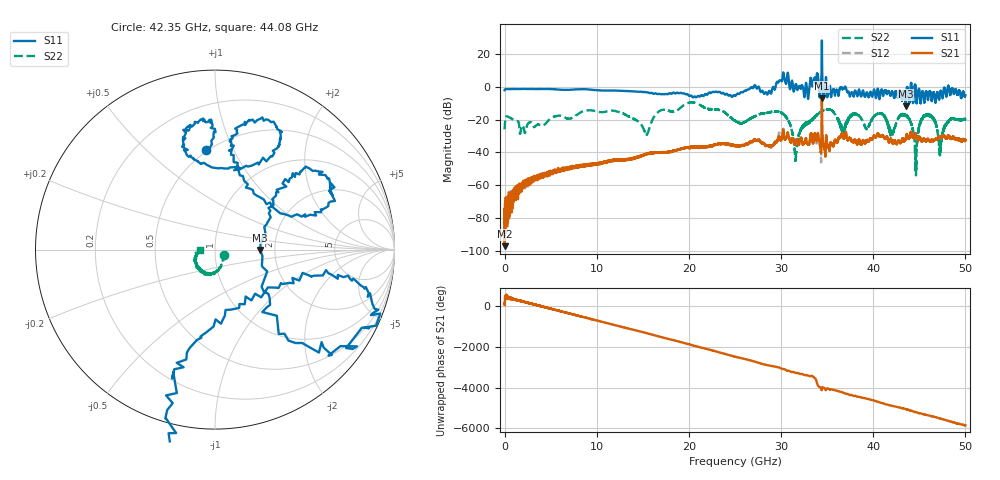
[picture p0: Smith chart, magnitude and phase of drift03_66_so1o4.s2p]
!Created with skrf (http://scikit-rf.org).
# Hz S RI R 50.0
!freq ReS11 ImS11 ReS21 ImS21 ReS12 ImS12 ReS22 ImS22
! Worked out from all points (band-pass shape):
!   10000 points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, 5.3 MHz to 50 GHz, reference 50 ohm
!   highest |S21| = -6.95 dB at 34.43 GHz (marker M1); lowest = -97.0 dB at 20.3 MHz (marker M2)
!   |S21| within 3 dB of the highest: 34.42726 GHz to 34.4349 GHz (7.64 MHz wide, 0.0222 % of centre)
!   lowest |S11| = -12.0 dB at 43.52 GHz (marker M3), VSWR 1.67, Z = 83.5 - j0.392 ohm
!   |S11| at or under -10 dB: 43.49105 GHz to 43.54564 GHz (54.59 MHz wide, 0.125 % of centre); 43.90945 GHz to 43.91065 GHz (1.193 MHz wide, 0.00272 % of centre); 44.31497 GHz to 44.31509 GHz (115.3 kHz wide, 0.00026 % of centre) (the widest 3 of 6)
!   |S22| runs from -53.9 to -9.4 dB; largest |S21 - S12| = 0.14
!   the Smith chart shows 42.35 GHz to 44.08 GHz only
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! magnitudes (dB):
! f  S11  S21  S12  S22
! 5.3 MHz  -2.1  -80.2  -81.1  -25.9
! 20.3 MHz  -1.9  -97.0  -76.6  -23.9
! 2.26 GHz  -1.3  -58.6  -58.8  -27.4
! 8.34 GHz  -1.5  -48.2  -48.0  -15.3
! 15.4 GHz  -3.4  -40.8  -40.7  -29.0
! 16.67 GHz  -4.4  -40.3  -40.0  -15.3
! 20.45 GHz  -6.5  -36.8  -37.0  -9.5
! 25.01 GHz  -5.5  -35.9  -36.0  -20.7
! 29.93 GHz  4.0  -32.5  -31.7  -15.6
! 31.59 GHz  1.4  -33.7  -33.9  -44.1
! 33.34 GHz  2.6  -30.3  -30.5  -19.9
! 34.43 GHz  28.1  -6.9  -9.0  -14.5
! 36.69 GHz  -1.3  -29.8  -29.8  -26.1
! 37.97 GHz  -3.1  -32.1  -32.4  -16.5
! 41.67 GHz  -2.9  -33.7  -33.3  -25.0
! 43.52 GHz  -12.0  -31.3  -31.4  -17.7
! 44.62 GHz  -2.1  -29.4  -29.5  -51.2
! 45.6 GHz  -7.0  -32.7  -32.6  -18.0
! 46.56 GHz  -3.5  -32.7  -32.7  -20.3
! 47.26 GHz  -3.6  -30.8  -30.5  -39.8
! 48.28 GHz  -2.9  -30.4  -30.6  -20.4
! 50 GHz  -5.2  -32.7  -32.3  -19.6
